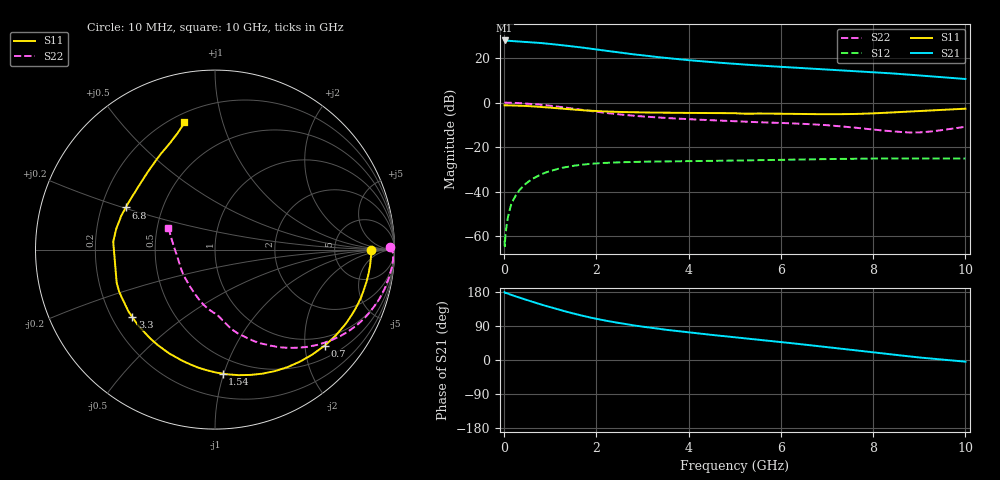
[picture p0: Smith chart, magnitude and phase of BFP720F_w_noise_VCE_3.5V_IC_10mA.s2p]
! Infineon Technologies  Discrete & RF Semiconductors
! BFP720F
! VCE =  3.5 V,  IC =  10 mA
! Common Emitter S-Parameters:  Jan 2016
# GHz  S  MA  R  50
!  f  S11  S21  S12  S22
! GHz  MAG  ANG  MAG  ANG  MAG  ANG  MAG  ANG
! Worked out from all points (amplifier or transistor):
!   233 points, 10 MHz to 10 GHz, reference 50 ohm
!   highest |S21| = 27.9 dB at 10 MHz (marker M1)
!   |S21| within 3 dB of that: start of sweep to 1.624 GHz
!   unconditionally stable (mu >= 1): start of sweep to 14.46 MHz; 6.744 GHz to end of sweep
!   at 200 MHz: K = 0.09, MSG = 35.6 dB, |S12| = -43.6 dB
!   at 1.74 GHz: K = 0.30, MSG = 26.2 dB, |S12| = -27.8 dB
!   at 10 GHz: K = 1.26, MAG = 14.8 dB, |S12| = -25.1 dB
!   lowest NFmin = 0.55 dB at 450 MHz
!   S11 on the Smith chart (normalised r, x): 10 MHz: 14, +0; 700 MHz: 0.78, -2.45; 1.54 GHz: 0.37, -0.99; 3.3 GHz: 0.28, -0.33; 6.8 GHz: 0.30, +0.20; 10 GHz: 0.25, +0.76
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0.01  0.8679 0.0  24.75 178.8  0.0008 -9.6  0.9755 0.9
0.02  0.8714 -1.0  24.42 176.8  0.0008 78.6  0.9942 -1.2
0.05  0.8698 -2.9  24.53 176.7  0.0016 80.3  0.9928 -1.7
0.135  0.8665 -8.1  24.22 172.8  0.0045 83.3  0.9916 -4.9
0.26  0.8586 -15.5  23.69 167.4  0.0085 80.1  0.9809 -9.5
0.46  0.8411 -27.3  22.89 159.4  0.0148 74.1  0.956 -16.6
0.7  0.8123 -41.2  21.96 150.3  0.0218 66.3  0.9157 -24.8
0.8  0.7974 -47.2  21.68 146.5  0.0245 63.3  0.8953 -28.1
1.02  0.7661 -59.4  20.57 138.6  0.0296 56.8  0.8451 -35.0
1.26  0.7302 -72.3  19.34 130.4  0.0344 50.4  0.7874 -41.9
1.54  0.6921 -86.5  17.92 121.5  0.0386 43.8  0.7204 -49.3
1.68  0.675 -93.3  17.21 117.3  0.0403 40.8  0.688 -52.7
2.02  0.6433 -107.3  15.46 108.2  0.0433 34.5  0.6188 -59.9
2.4  0.6211 -120.4  13.69 99.5  0.0454 28.7  0.5564 -66.7
2.8  0.6046 -131.1  12.12 91.5  0.0465 24.4  0.5064 -71.9
3.3  0.5944 -140.9  10.58 83.4  0.0476 20.5  0.466 -76.7
3.4  0.5932 -142.6  10.31 81.7  0.0477 19.8  0.4587 -77.5
4  0.5855 -151.1  8.936 72.8  0.0485 16.6  0.423 -81.1
5.1  0.5689 -165.9  7.259 58.7  0.0502 12.8  0.3776 -86.1
6.8  0.5496 154.7  5.681 36.7  0.0535 8.0  0.3195 -100.0
8.4  0.5993 122.7  4.519 14.7  0.0558 2.6  0.2273 -139.3
10  0.7287 103.5  3.384 -4.4  0.0555 -1.0  0.2872 154.7
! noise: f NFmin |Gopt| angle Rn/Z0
0.45  0.55  0.3  3  0.33
0.9  0.58  0.27  8  0.12
1.8  0.62  0.25  13  0.15
2.4  0.65  0.22  23  0.14
5.5  0.8  0.2  43  0.09
10  1  0.28  -91  0.17
